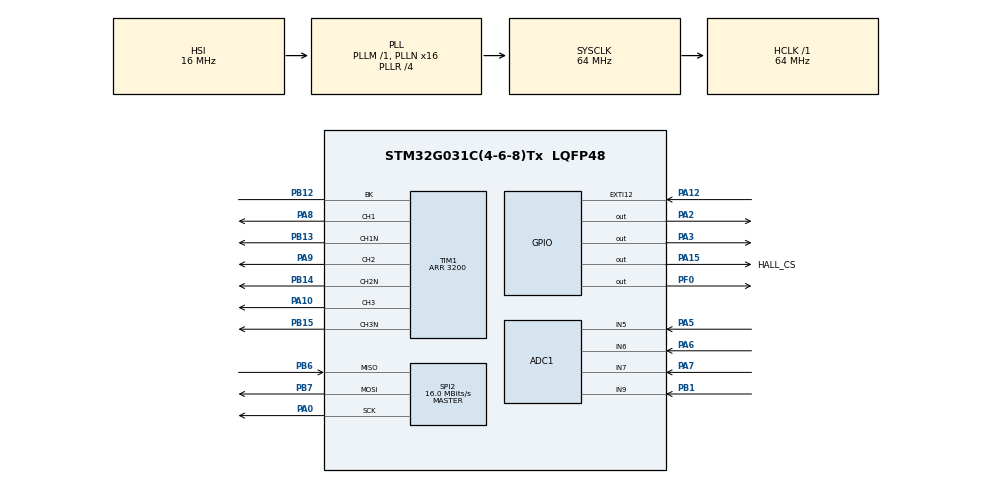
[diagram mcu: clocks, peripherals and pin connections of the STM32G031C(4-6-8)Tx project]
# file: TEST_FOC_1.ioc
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ADC1.Channel-0\#ChannelRegularConversion=ADC_CHANNEL_6
ADC1.Channel-1\#ChannelRegularConversion=ADC_CHANNEL_7
ADC1.Channel-2\#ChannelRegularConversion=ADC_CHANNEL_9
ADC1.Channel-3\#ChannelRegularConversion=ADC_CHANNEL_5
ADC1.Channel-4\#ChannelRegularConversion=ADC_CHANNEL_VREFINT
ADC1.ClockPrescaler=ADC_CLOCK_ASYNC_DIV1
ADC1.DMAContinuousRequests=DISABLE
ADC1.DiscontinuousConvMode=DISABLE
ADC1.EOCSelection=ADC_EOC_SEQ_CONV
ADC1.ExternalTrigConv=ADC_EXTERNALTRIG_T1_TRGO2
ADC1.ExternalTrigConvEdge=ADC_EXTERNALTRIGCONVEDGE_FALLING
ADC1.NbrOfConversion=5
ADC1.NbrOfConversionFlag=1
ADC1.Overrun=ADC_OVR_DATA_OVERWRITTEN
ADC1.Rank-0\#ChannelRegularConversion=1
ADC1.Rank-1\#ChannelRegularConversion=2
ADC1.Rank-2\#ChannelRegularConversion=3
ADC1.Rank-3\#ChannelRegularConversion=4
ADC1.Rank-4\#ChannelRegularConversion=5
ADC1.SamplingTime-0\#ChannelRegularConversion=ADC_SAMPLINGTIME_COMMON_1
ADC1.SamplingTime-1\#ChannelRegularConversion=ADC_SAMPLINGTIME_COMMON_1
ADC1.SamplingTime-2\#ChannelRegularConversion=ADC_SAMPLINGTIME_COMMON_1
ADC1.SamplingTime-3\#ChannelRegularConversion=ADC_SAMPLINGTIME_COMMON_1
ADC1.SamplingTime-4\#ChannelRegularConversion=ADC_SAMPLINGTIME_COMMON_1
ADC1.SamplingTimeCommon1=ADC_SAMPLETIME_7CYCLES_5
ADC1.SelectedChannel=ADC_CHANNEL_5|ADC_CHANNEL_6|ADC_CHANNEL_7|ADC_CHANNEL_VREFINT|ADC_CHANNEL_9
ADC1.Sequencer=FULLY_CONFIGURABLE
ADC1.master=1
Dma.ADC1.0.Direction=DMA_PERIPH_TO_MEMORY
Dma.ADC1.0.EventEnable=DISABLE
Dma.ADC1.0.Instance=DMA1_Channel1
Dma.ADC1.0.MemDataAlignment=DMA_MDATAALIGN_HALFWORD
Dma.ADC1.0.MemInc=DMA_MINC_ENABLE
Dma.ADC1.0.Mode=DMA_CIRCULAR
Dma.ADC1.0.PeriphDataAlignment=DMA_PDATAALIGN_HALFWORD
Dma.ADC1.0.PeriphInc=DMA_PINC_DISABLE
Dma.ADC1.0.Polarity=HAL_DMAMUX_REQ_GEN_RISING
Dma.ADC1.0.Priority=DMA_PRIORITY_LOW
Dma.ADC1.0.RequestNumber=1
Dma.ADC1.0.SignalID=NONE
Dma.ADC1.0.SyncEnable=DISABLE
Dma.ADC1.0.SyncPolarity=HAL_DMAMUX_SYNC_NO_EVENT
Dma.ADC1.0.SyncRequestNumber=1
Dma.ADC1.0.SyncSignalID=NONE
Dma.Request0=ADC1
Dma.Request1=SPI2_RX
Dma.Request2=SPI2_TX
Dma.SPI2_RX.1.Direction=DMA_PERIPH_TO_MEMORY
Dma.SPI2_RX.1.EventEnable=DISABLE
Dma.SPI2_RX.1.Instance=DMA1_Channel2
Dma.SPI2_RX.1.MemDataAlignment=DMA_MDATAALIGN_BYTE
Dma.SPI2_RX.1.MemInc=DMA_MINC_ENABLE
Dma.SPI2_RX.1.Mode=DMA_NORMAL
Dma.SPI2_RX.1.PeriphDataAlignment=DMA_PDATAALIGN_BYTE
Dma.SPI2_RX.1.PeriphInc=DMA_PINC_DISABLE
Dma.SPI2_RX.1.Polarity=HAL_DMAMUX_REQ_GEN_RISING
Dma.SPI2_RX.1.Priority=DMA_PRIORITY_MEDIUM
Dma.SPI2_RX.1.RequestNumber=1
Dma.SPI2_RX.1.SignalID=NONE
Dma.SPI2_RX.1.SyncEnable=DISABLE
Dma.SPI2_RX.1.SyncPolarity=HAL_DMAMUX_SYNC_NO_EVENT
Dma.SPI2_RX.1.SyncRequestNumber=1
Dma.SPI2_RX.1.SyncSignalID=NONE
Dma.SPI2_TX.2.Direction=DMA_MEMORY_TO_PERIPH
Dma.SPI2_TX.2.EventEnable=DISABLE
Dma.SPI2_TX.2.Instance=DMA1_Channel3
Dma.SPI2_TX.2.MemDataAlignment=DMA_MDATAALIGN_BYTE
Dma.SPI2_TX.2.MemInc=DMA_MINC_ENABLE
Dma.SPI2_TX.2.Mode=DMA_NORMAL
Dma.SPI2_TX.2.PeriphDataAlignment=DMA_PDATAALIGN_BYTE
Dma.SPI2_TX.2.PeriphInc=DMA_PINC_DISABLE
Dma.SPI2_TX.2.Polarity=HAL_DMAMUX_REQ_GEN_RISING
Dma.SPI2_TX.2.Priority=DMA_PRIORITY_MEDIUM
Dma.SPI2_TX.2.RequestNumber=1
Dma.SPI2_TX.2.SignalID=NONE
Dma.SPI2_TX.2.SyncEnable=DISABLE
Dma.SPI2_TX.2.SyncPolarity=HAL_DMAMUX_SYNC_NO_EVENT
Dma.SPI2_TX.2.SyncRequestNumber=1
Dma.SPI2_TX.2.SyncSignalID=NONE
Mcu.Family=STM32G0
Mcu.Name=STM32G031C(4-6-8)Tx
Mcu.Package=LQFP48
NVIC.DMA1_Channel1_IRQn=true\:0\:0\:true\:false\:true\:false\:true\:true
NVIC.DMA1_Channel2_3_IRQn=true\:1\:0\:true\:false\:true\:false\:true\:true
NVIC.EXTI4_15_IRQn=true\:3\:0\:true\:false\:true\:true\:true\:true
NVIC.TIM1_BRK_UP_TRG_COM_IRQn=true\:0\:0\:false\:false\:true\:true\:true\:true
PA0.Mode=Full_Duplex_Master
PA0.Signal=SPI2_SCK
PA10.Signal=S_TIM1_CH3
PA12\ [PA10].Signal=GPXTI12
PA13.Mode=Serial_Wire
PA13.Signal=SYS_SWDIO
PA14-BOOT0.Mode=Serial_Wire
PA14-BOOT0.Signal=SYS_SWCLK
PA15.GPIO_Label=HALL_CS
PA15.Signal=GPIO_Output
PA2.GPIO_Speed=GPIO_SPEED_FREQ_HIGH
PA2.Signal=GPIO_Output
PA3.GPIO_Speed=GPIO_SPEED_FREQ_HIGH
PA3.Signal=GPIO_Output
PA5.Mode=IN5
PA5.Signal=ADC1_IN5
PA6.Mode=IN6
PA6.Signal=ADC1_IN6
PA7.Mode=IN7
PA7.Signal=ADC1_IN7
PA8.Signal=S_TIM1_CH1
PA9.Signal=S_TIM1_CH2
PB1.Mode=IN9
PB1.Signal=ADC1_IN9
PB12.Mode=Activate-Break-Input
PB12.Signal=TIM1_BK
PB13.Mode=PWM Generation1 CH1 CH1N
PB13.Signal=TIM1_CH1N
PB14.Mode=PWM Generation2 CH2 CH2N
PB14.Signal=TIM1_CH2N
PB15.Mode=PWM Generation3 CH3 CH3N
PB15.Signal=TIM1_CH3N
PB6.Mode=Full_Duplex_Master
PB6.Signal=SPI2_MISO
PB7.Mode=Full_Duplex_Master
PB7.Signal=SPI2_MOSI
PF0-OSC_IN\ (PF0).Signal=GPIO_Output
ProjectManager.HeapSize=0x200
ProjectManager.StackSize=0x400
ProjectManager.TargetToolchain=STM32CubeIDE
RCC.ADCCLockSelection=RCC_ADCCLKSOURCE_PLLADC
RCC.ADCFreq_Value=32000000
RCC.AHBFreq_Value=64000000
RCC.CortexFreq_Value=64000000
RCC.EXTERNAL_CLOCK_VALUE=12288000
RCC.HCLKFreq_Value=64000000
RCC.HSE_VALUE=8000000
RCC.HSI_VALUE=16000000
RCC.LSE_VALUE=32768
RCC.PLLN=16
RCC.PLLP=RCC_PLLP_DIV8
RCC.PLLQ=RCC_PLLQ_DIV8
RCC.PLLR=RCC_PLLR_DIV4
RCC.SYSCLKFreq_VALUE=64000000
RCC.SYSCLKSource=RCC_SYSCLKSOURCE_PLLCLK
RCC.VCOOutputFreq_Value=256000000
SH.S_TIM1_CH1.0=TIM1_CH1,PWM Generation1 CH1 CH1N
SH.S_TIM1_CH2.0=TIM1_CH2,PWM Generation2 CH2 CH2N
SH.S_TIM1_CH3.0=TIM1_CH3,PWM Generation3 CH3 CH3N
SPI2.BaudRatePrescaler=SPI_BAUDRATEPRESCALER_4
SPI2.CalculateBaudRate=16.0 MBits/s
SPI2.Direction=SPI_DIRECTION_2LINES
SPI2.Mode=SPI_MODE_MASTER
SPI2.VirtualType=VM_MASTER
TIM1.BreakFilter=3
TIM1.BreakState=TIM_BREAK_ENABLE
TIM1.Channel-PWM\ Generation1\ CH1\ CH1N=TIM_CHANNEL_1
TIM1.Channel-PWM\ Generation2\ CH2\ CH2N=TIM_CHANNEL_2
TIM1.Channel-PWM\ Generation3\ CH3\ CH3N=TIM_CHANNEL_3
TIM1.Channel-PWM\ Generation4\ No\ Output=TIM_CHANNEL_4
TIM1.ClockDivision=TIM_CLOCKDIVISION_DIV1
TIM1.CounterMode=TIM_COUNTERMODE_CENTERALIGNED1
TIM1.DeadTime=26
TIM1.OC4Preload_PWM=DISABLE
TIM1.OCFastMode_PWM-PWM\ Generation1\ CH1\ CH1N=TIM_OCFAST_ENABLE
TIM1.OCFastMode_PWM-PWM\ Generation2\ CH2\ CH2N=TIM_OCFAST_ENABLE
TIM1.OCFastMode_PWM-PWM\ Generation3\ CH3\ CH3N=TIM_OCFAST_ENABLE
TIM1.OCFastMode_PWM-PWM\ Generation4\ No\ Output=TIM_OCFAST_ENABLE
TIM1.OCMode_PWM-PWM\ Generation4\ No\ Output=TIM_OCMODE_PWM2
TIM1.Period=3200
TIM1.Pulse-PWM\ Generation1\ CH1\ CH1N=0
TIM1.Pulse-PWM\ Generation2\ CH2\ CH2N=0
TIM1.Pulse-PWM\ Generation3\ CH3\ CH3N=0
TIM1.Pulse-PWM\ Generation4\ No\ Output=3150-1
TIM1.TIM_MasterOutputTrigger=TIM_TRGO_RESET
TIM1.TIM_MasterOutputTrigger2=TIM_TRGO2_OC4REF
VP_ADC1_Vref_Input.Mode=IN-Vrefint
VP_TIM1_VS_ClockSourceINT.Mode=Internal
VP_TIM1_VS_no_output4.Mode=PWM Generation4 No Output
VP_TIM2_VS_ClockSourceINT.Mode=Internal
board=custom

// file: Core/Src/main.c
/* USER CODE BEGIN Header */
/**
 ******************************************************************************
 * @file           : main.c
 * @brief          : Main program body
 ******************************************************************************
 * @attention
 *
 * Copyright (c) 2025 STMicroelectronics.
 * All rights reserved.
 *
 * This software is licensed under terms that can be found in the LICENSE file
 * in the root directory of this software component.
 * If no LICENSE file comes with this software, it is provided AS-IS.
 *
 ******************************************************************************
 */
/* USER CODE END Header */
#include "main.h"
#include "adc.h"
#include "dma.h"
#include "spi.h"
#include "tim.h"
#include "gpio.h"

/* USER CODE BEGIN Includes */
#include "MA330.h"
#include "foc.h"

/* USER CODE END Includes */

/* USER CODE BEGIN PD */
#define BLDC_PWM_FREQ AUDIO_SAMPLE_RATE
// #define BLDC_PWM_FREQ 10000
#define R_SHUNT	0.01f
#define V_OFFSET_A	1.645f
#define V_OFFSET_B	1.657f
#define POLE_PAIR	(7)
#define SPEED_CONTROL_CYCLE	10
#define FOC_TS (1.0f / (float)BLDC_PWM_FREQ)
#define CAL_ITERATION 100
#define VD_CAL 0.6f
#define VQ_CAL 0.0f
/* USER CODE END PD */

/* USER CODE BEGIN PV */
uint16_t adc_data[5];
MA330_t ma330data;
foc_t hfoc;

float angle_deg = 0.0f;
float sp_input = 0.0f;
int start_cal = 0;
_Bool com_init_flag = 0;
_Bool calibration_flag = 0;

uint32_t tps1=0;
uint32_t tps_tot=0;
/* USER CODE END PV */

void SystemClock_Config(void);

/* USER CODE BEGIN 0 */
void HAL_GPIO_EXTI_Rising_Callback(uint16_t GPIO_Pin){

	HAL_GPIO_TogglePin(GPIOF,GPIO_PIN_0);

}
void HAL_GPIO_EXTI_Falling_Callback(uint16_t GPIO_Pin){

	HAL_GPIO_TogglePin(GPIOF,GPIO_PIN_0);

}

///******************************************************************************/

//float get_power_voltage(void) {
//	static float pv_filtered = 0.0f;
//  const float filter_alpha = 0.2f;
//
//	// convert to volt
//	float pv = (float)ADC3->JDR1 * ADC_2_POWER_VOLT;
//
//  // Low-pass filter for noise reduction
//	pv_filtered = (1.0f - filter_alpha) * pv_filtered + filter_alpha * pv;
//
//	return pv_filtered;
//}

uint32_t get_dt_us(void) {

  uint32_t elapsed_us = TIM2->CNT;
  TIM2->CNT = 0;
  return elapsed_us;
}

///******************************************************************************/

void encoder_get_error(void) {
	  open_loop_voltage_control(&hfoc, VD_CAL, VQ_CAL, 0.0f);
	  HAL_Delay(500);
	  float rad_offset = 0.0f;
	  for (int i = 0; i < CAL_ITERATION; i++) {
	    rad_offset += DEG_TO_RAD(ma330data.angle_filtered);
	    HAL_Delay(1);
	  }
	  open_loop_voltage_control(&hfoc, 0.0f, 0.0f, 0.0f);
	  rad_offset = rad_offset / (float)CAL_ITERATION;
	  hfoc.m_angle_offset = rad_offset;
  }

//void svpwm_test(void) {
//  open_loop_voltage_control(&hfoc, VD_CAL, VQ_CAL, 0.0f);
//  HAL_Delay(500);
//
//  for (int i = 0; i < ERROR_LUT_SIZE; i++) {
//    float mech_deg = (float)i * (360.0f / (float)ERROR_LUT_SIZE);
//    float elec_rad = DEG_TO_RAD(mech_deg * POLE_PAIR);
//    open_loop_voltage_control(&hfoc, VD_CAL, VQ_CAL, elec_rad);
//    HAL_Delay(10);
//    // float pwm[3];
//    // pwm[0] = TIM1->CCR1;
//    // pwm[1] = TIM1->CCR2;
//    // pwm[2] = TIM1->CCR3;
//    // send_data_float(pwm, 3);
//    float rad[2];
//    rad[0] = hfoc.e_angle_rad_comp;
//    rad[1] = elec_rad;
//    norm_angle_rad(&rad[0]);
//    norm_angle_rad(&rad[1]);
//    send_data_float(rad, 2);
//  }
//
//  open_loop_voltage_control(&hfoc, 0.0f, 0.0f, 0.0f);
//}
//
///******************************************************************************/
/* USER CODE END 0 */

int main(void)
{

  /* MCU Configuration--------------------------------------------------------*/

  /* Reset of all peripherals, Initializes the Flash interface and the Systick. */
  HAL_Init();

  /* Configure the system clock */
  SystemClock_Config();

  /* Initialize all configured peripherals */
  MX_GPIO_Init();
  MX_DMA_Init();
  MX_ADC1_Init();
  MX_SPI2_Init();
  MX_TIM1_Init();
  MX_TIM2_Init();
  /* USER CODE BEGIN 2 */

  MA330_Init(&ma330data, HALL_CS_GPIO_Port, HALL_CS_Pin,NORMAL_FW);

  __HAL_TIM_DISABLE_IT(&htim1, TIM_IT_UPDATE | TIM_IT_CC1 | TIM_IT_CC2 | TIM_IT_CC3 | TIM_IT_CC4 | TIM_IT_TRIGGER | TIM_IT_COM | TIM_IT_BREAK);
  __HAL_TIM_CLEAR_IT(&htim1, TIM_IT_UPDATE | TIM_IT_CC1 | TIM_IT_CC2 | TIM_IT_CC3 | TIM_IT_CC4 | TIM_IT_TRIGGER | TIM_IT_COM | TIM_IT_BREAK);
  __HAL_TIM_ENABLE_IT(&htim1, TIM_IT_UPDATE);

	HAL_TIM_PWM_Start(&htim1,TIM_CHANNEL_1);
	HAL_TIMEx_PWMN_Start(&htim1,TIM_CHANNEL_1);

	HAL_TIM_PWM_Start(&htim1,TIM_CHANNEL_2);
	HAL_TIMEx_PWMN_Start(&htim1,TIM_CHANNEL_2);

	HAL_TIM_PWM_Start(&htim1,TIM_CHANNEL_3);
	HAL_TIMEx_PWMN_Start(&htim1,TIM_CHANNEL_3);

	//HAL_ADC_Start_DMA(&hadc1, (uint32_t *)adc_data, 5);
	ADC_PostLL_Init(&hfoc);
	HAL_TIM_PWM_Start(&htim1, TIM_CHANNEL_4);

	HAL_TIM_Base_Start(&htim2);

  /* USER CODE END 2 */

  /* Infinite loop */
  /* USER CODE BEGIN WHILE */
	while (1)
	{

//		    if (is_foc_ready()) {
//		      foc_reset_flag();
//
//		      switch (hfoc.control_mode) {
//		      case TORQUE_CONTROL_MODE:
//		        hfoc.id_ref = 0.0f;
//		        hfoc.iq_ref = sp_input;
//		        break;
//		      case SPEED_CONTROL_MODE: {
//		        foc_speed_control_update(&hfoc, sp_input);
//		        break;
//		      }
//		      case POSITION_CONTROL_MODE:
//		        hfoc.actual_angle = MA330_get_actual_degree(&ma330data);
//		        foc_position_control_update(&hfoc, sp_input);
//		        break;
//		      case CALIBRATION_MODE:
//		        break;
//		      case TEST_MODE:
//		        open_loop_voltage_control(&hfoc, 0.0f, 0.1f, 0.0f);
//		        break;
//		      default:
//		        break;
//		      }
//		    }
//
//		    if (hfoc.control_mode == CALIBRATION_MODE) {
//		      if (start_cal == 1) {
//		        encoder_get_error();
//		        // svpwm_test();
//		        start_cal = 0;
//		      }
//		    }

		HAL_Delay(5);
    /* USER CODE END WHILE */

	}
}

void SystemClock_Config(void)
{
  RCC_OscInitTypeDef RCC_OscInitStruct = {0};
  RCC_ClkInitTypeDef RCC_ClkInitStruct = {0};

  /** Configure the main internal regulator output voltage
  */
  HAL_PWREx_ControlVoltageScaling(PWR_REGULATOR_VOLTAGE_SCALE1);

  /** Initializes the RCC Oscillators according to the specified parameters
  * in the RCC_OscInitTypeDef structure.
  */
  RCC_OscInitStruct.OscillatorType = RCC_OSCILLATORTYPE_HSI;
  RCC_OscInitStruct.HSIState = RCC_HSI_ON;
  RCC_OscInitStruct.HSIDiv = RCC_HSI_DIV1;
  RCC_OscInitStruct.HSICalibrationValue = RCC_HSICALIBRATION_DEFAULT;
  RCC_OscInitStruct.PLL.PLLState = RCC_PLL_ON;
  RCC_OscInitStruct.PLL.PLLSource = RCC_PLLSOURCE_HSI;
  RCC_OscInitStruct.PLL.PLLM = RCC_PLLM_DIV1;
  RCC_OscInitStruct.PLL.PLLN = 16;
  RCC_OscInitStruct.PLL.PLLP = RCC_PLLP_DIV8;
  RCC_OscInitStruct.PLL.PLLQ = RCC_PLLQ_DIV8;
  RCC_OscInitStruct.PLL.PLLR = RCC_PLLR_DIV4;
  if (HAL_RCC_OscConfig(&RCC_OscInitStruct) != HAL_OK)
  {
    Error_Handler();
  }

  /** Initializes the CPU, AHB and APB buses clocks
  */
  RCC_ClkInitStruct.ClockType = RCC_CLOCKTYPE_HCLK|RCC_CLOCKTYPE_SYSCLK
                              |RCC_CLOCKTYPE_PCLK1;
  RCC_ClkInitStruct.SYSCLKSource = RCC_SYSCLKSOURCE_PLLCLK;
  RCC_ClkInitStruct.AHBCLKDivider = RCC_SYSCLK_DIV1;
  RCC_ClkInitStruct.APB1CLKDivider = RCC_HCLK_DIV1;

  if (HAL_RCC_ClockConfig(&RCC_ClkInitStruct, FLASH_LATENCY_2) != HAL_OK)
  {
    Error_Handler();
  }
}

void Error_Handler(void)
{
	__disable_irq();
	while (1)
	{
	}
}
